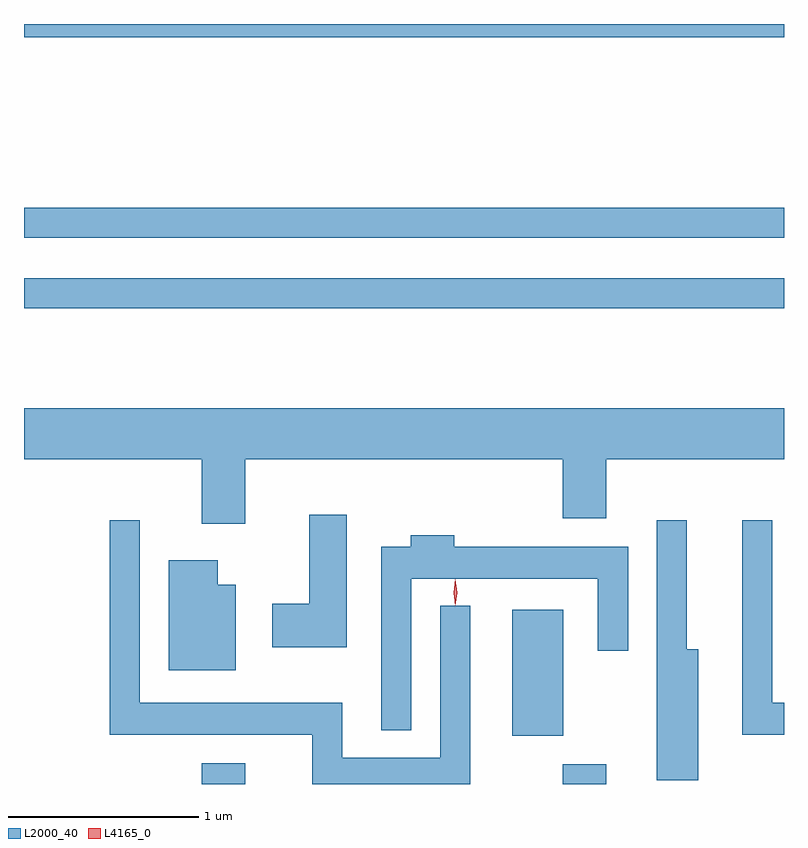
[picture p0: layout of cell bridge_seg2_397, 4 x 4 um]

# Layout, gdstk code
import gdstk
lib = gdstk.Library(unit=1e-6, precision=1e-09)
def R(c, l, rs):  # rectangles x0, y0, x1, y1
    for r in rs: c.add(gdstk.rectangle(r[:2], r[2:], *l))
def P(c, l, *ps):  # polygons
    for p in ps: c.add(gdstk.Polygon(p, *l))
L2000_40 = (2000, 40)
L4165_0 = (4165, 0)

bridge_seg2_397 = lib.new_cell('bridge_seg2_397')
R(bridge_seg2_397, L2000_40, [(628.021,1013.306,628.249,1013.414), (629.921,1013.306,630.149,1013.409), (629.656,1013.561,629.924,1014.224), (627.085,1015.811,631.085,1015.969), (627.085,1016.181,631.085,1016.339), (627.085,1017.236,631.085,1017.306)])
P(bridge_seg2_397, L2000_40, [(628.249,1015.016),(629.921,1015.016),(629.921,1014.706),(630.149,1014.706),(630.149,1015.016),(631.085,1015.016),(631.085,1015.284),(627.085,1015.284),(627.085,1015.016),(628.021,1015.016),(628.021,1014.676),(628.249,1014.676)],
  [(628.784,1014.724),(628.586,1014.724),(628.586,1014.254),(628.391,1014.254),(628.391,1014.026),(628.784,1014.026)],
  [(630.634,1014.014),(630.574,1014.014),(630.574,1014.693),(630.416,1014.693),(630.416,1013.326),(630.634,1013.326)],
  [(631.085,1013.734),(631.024,1013.734),(631.024,1014.693),(630.866,1014.693),(630.866,1013.566),(631.085,1013.566)],
  [(629.434,1014.243),(629.276,1014.243),(629.276,1013.444),(628.759,1013.444),(628.759,1013.734),(627.694,1013.734),(627.694,1014.693),(627.536,1014.693),(627.536,1013.566),(628.601,1013.566),(628.601,1013.306),(629.434,1013.306)],
  [(629.124,1014.386),(630.106,1014.386),(630.106,1014.008),(630.264,1014.008),(630.264,1014.554),(629.349,1014.554),(629.349,1014.614),(629.121,1014.614),(629.121,1014.554),(628.966,1014.554),(628.966,1013.588),(629.124,1013.588)],
  [(628.199,1014.354),(628.104,1014.354),(628.104,1014.484),(627.846,1014.484),(627.846,1013.906),(628.199,1013.906)])
P(bridge_seg2_397, L4165_0, [(629.355,1014.244),(629.346,1014.313),(629.355,1014.383),(629.356,1014.383),(629.356,1014.383),(629.366,1014.313),(629.356,1014.244),(629.356,1014.244)])

lib.write_gds('bridge_seg2_397.gds')
